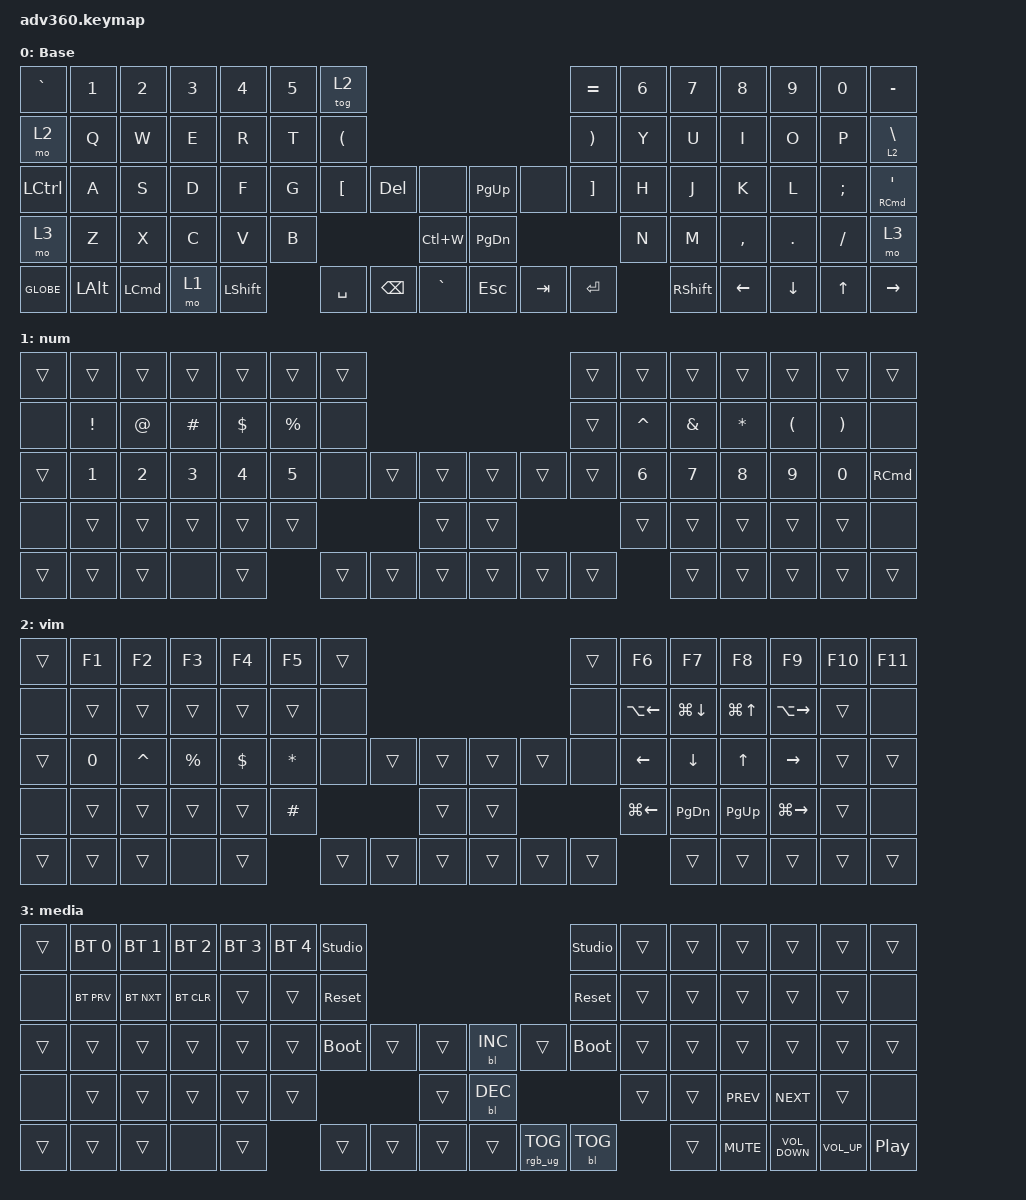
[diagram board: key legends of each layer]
#include <dt-bindings/zmk/stp.h>
#include <behaviors.dtsi>
#include <dt-bindings/zmk/backlight.h>
#include <dt-bindings/zmk/bt.h>
#include <dt-bindings/zmk/keys.h>
#include <dt-bindings/zmk/rgb.h>

/ {
    behaviors {
        #include "macros.dtsi"
      #include "version.dtsi"

        hm: homerow_mods {
            compatible = "zmk,behavior-hold-tap";
            label = "HOMEROW_MODS";
            #binding-cells = <2>;
            tapping-term-ms = <200>;
            quick_tap_ms = <175>;
            flavor = "tap-preferred";
            bindings = <&kp>, <&kp>;
        };
    };

    macros {
        DOUBLE_TICK: DOUBLE_TICK {
            compatible = "zmk,behavior-macro";
            #binding-cells = <0>;
            bindings = <&kp GRAVE &kp GRAVE>;
            label = "DOUBLE_TICK";
        };
    };

    keymap {
        compatible = "zmk,keymap";

        alphanumeric {
            display-name = "Base";
            bindings = <
&kp GRAVE  &kp N1    &kp N2            &kp N3  &kp N4          &kp N5  &tog 2                                                       &kp EQUAL  &kp N6  &kp N7      &kp N8     &kp N9    &kp N0        &kp MINUS
&mo 2      &kp Q     &kp W             &kp E   &kp R           &kp T   &kp LPAR                                                     &kp RPAR   &kp Y   &kp U       &kp I      &kp O     &kp P         &lt 2 BSLH
&kp LCTRL  &kp A     &kp S             &kp D   &kp F           &kp G   &kp LBKT   &kp DEL        &none          &kp PG_UP  &none    &kp RBKT   &kp H   &kp J       &kp K      &kp L     &kp SEMI      &hm RIGHT_COMMAND SQT
&mo 3      &kp Z     &kp X             &kp C   &kp V           &kp B                             &kp LC(W)      &kp PG_DN                      &kp N   &kp M       &kp COMMA  &kp DOT   &kp FSLH      &mo 3
&kp GLOBE  &kp LALT  &kp LEFT_COMMAND  &mo 1   &kp LEFT_SHIFT          &kp SPACE  &kp BACKSPACE  &kp GRAVE      &kp ESC    &kp TAB  &kp RET            &kp RSHIFT  &kp LEFT   &kp DOWN  &kp UP_ARROW  &kp RIGHT
            >;
        };

        numrow {
            display-name = "num";
            bindings = <
&trans  &trans        &trans        &trans        &trans        &trans        &trans                                      &trans  &trans        &trans        &trans        &trans        &trans        &trans
&none   &kp EXCL      &kp AT        &kp HASH      &kp DLLR      &kp PRCNT     &none                                       &trans  &kp CARET     &kp AMPS      &kp ASTRK     &kp LPAR      &kp RPAR      &none
&trans  &kp NUMBER_1  &kp NUMBER_2  &kp NUMBER_3  &kp NUMBER_4  &kp NUMBER_5  &none   &trans  &trans      &trans  &trans  &trans  &kp NUMBER_6  &kp NUMBER_7  &kp NUMBER_8  &kp NUMBER_9  &kp NUMBER_0  &kp RIGHT_COMMAND
&none   &trans        &trans        &trans        &trans        &trans                        &trans      &trans                  &trans        &trans        &trans        &trans        &trans        &none
&trans  &trans        &trans        &none         &trans                      &trans  &trans  &trans      &trans  &trans  &trans                &trans        &trans        &trans        &trans        &trans
            >;
        };

        vimarrow {
            display-name = "vim";
            bindings = <
&trans  &kp F1        &kp F2     &kp F3     &kp F4    &kp F5     &trans                                      &trans  &kp F6        &kp F7        &kp F8      &kp F9         &kp F10  &kp F11
&none   &trans        &trans     &trans     &trans    &trans     &none                                       &none   &kp LA(LEFT)  &kp LG(DOWN)  &kp LG(UP)  &kp LA(RIGHT)  &trans   &none
&trans  &kp NUMBER_0  &kp CARET  &kp PRCNT  &kp DLLR  &kp ASTRK  &none   &trans  &trans      &trans  &trans  &none   &kp LEFT      &kp DOWN      &kp UP      &kp RIGHT      &trans   &trans
&none   &trans        &trans     &trans     &trans    &kp HASH                   &trans      &trans                  &kp LG(LEFT)  &kp PG_DN     &kp PG_UP   &kp LG(RIGHT)  &trans   &none
&trans  &trans        &trans     &none      &trans               &trans  &trans  &trans      &trans  &trans  &trans                &trans        &trans      &trans         &trans   &trans
            >;
        };

        media {
            display-name = "media";
            bindings = <
&trans  &bt BT_SEL 0  &bt BT_SEL 1  &bt BT_SEL 2  &bt BT_SEL 3  &bt BT_SEL 4  &studio_unlock                                                   &studio_unlock  &trans  &trans  &trans      &trans             &trans           &trans
&none   &bt BT_PRV    &bt BT_NXT    &bt BT_CLR    &trans        &trans        &sys_reset                                                       &sys_reset      &trans  &trans  &trans      &trans             &trans           &none
&trans  &trans        &trans        &trans        &trans        &trans        &bootloader     &trans  &trans      &bl BL_INC  &trans           &bootloader     &trans  &trans  &trans      &trans             &trans           &trans
&none   &trans        &trans        &trans        &trans        &trans                                &trans      &bl BL_DEC                                   &trans  &trans  &kp C_PREV  &kp C_NEXT         &trans           &none
&trans  &trans        &trans        &none         &trans                      &trans          &trans  &trans      &trans      &rgb_ug RGB_TOG  &bl BL_TOG              &trans  &kp C_MUTE  &kp C_VOLUME_DOWN  &kp C_VOLUME_UP  &kp C_PLAY_PAUSE
            >;
        };
    };
};
